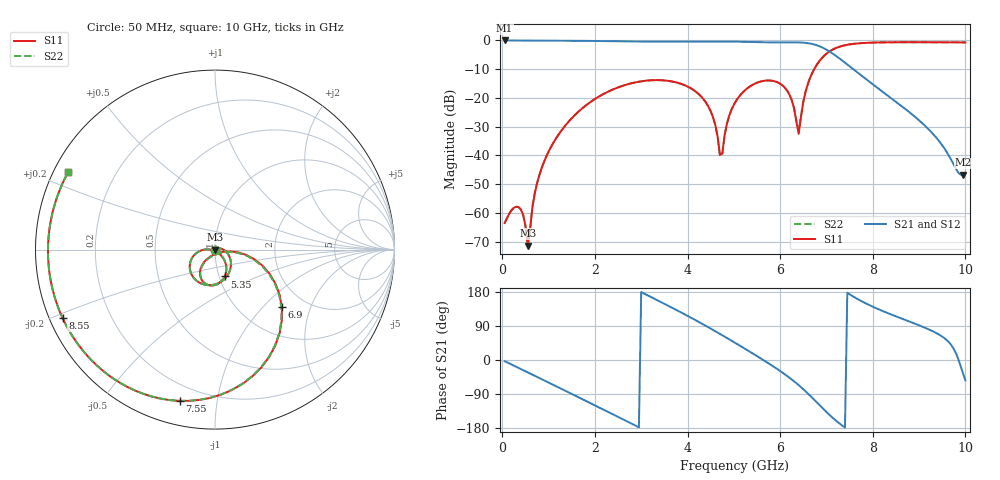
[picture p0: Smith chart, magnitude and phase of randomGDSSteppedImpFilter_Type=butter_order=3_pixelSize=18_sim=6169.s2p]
! freq	dB(S11)	phase(S11)	dB(S12)	phase(S12)
!  dB(S21)	phase(S21)	dB(S22)	phase(S22)
!S-par simulation data
#  GHz  S  DB  R 50
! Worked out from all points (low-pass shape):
!   200 points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, 50 MHz to 10 GHz, reference 50 ohm
!   highest |S21| = 0.00 dB at 50 MHz (marker M1); lowest = -46.7 dB at 9.95 GHz (marker M2)
!   |S21| within 3 dB of the highest: start of sweep to 6.976 GHz
!   lowest |S11| = -71.4 dB at 550 MHz (marker M3), VSWR 1.00, Z = 50 - j0.0171 ohm
!   |S11| at or under -10 dB: start of sweep to 6.735 GHz
!   |S22| runs from -71.6 to -0.6 dB; largest |S21 - S12| = 0
!   S11 on the Smith chart (normalised r, x): 50 MHz: 1.00, -0.00; 5.35 GHz: 1.06, -0.33; 6.9 GHz: 1.52, -1.29; 7.55 GHz: 0.12, -0.79; 8.55 GHz: 0.04, -0.21; 10 GHz: 0.04, +0.25
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0.05  -63.55 -26.2  -0.00 -3.0  -0.00 -3.0  -63.55 -26.3
0.4  -58.80 -96.7  -0.04 -23.8  -0.04 -23.8  -58.83 -97.0
0.55  -71.38 -39.4  -0.05 -32.7  -0.05 -32.7  -71.59 -38.3
0.7  -53.29 50.7  -0.05 -41.7  -0.05 -41.7  -53.28 51.2
0.9  -42.29 39.2  -0.07 -53.6  -0.07 -53.6  -42.28 39.4
1.75  -23.31 -13.9  -0.14 -104.6  -0.14 -104.6  -23.31 -13.9
2.6  -15.77 -66.0  -0.31 -156.3  -0.31 -156.3  -15.77 -66.0
3.4  -13.82 -114.7  -0.45 154.5  -0.45 154.5  -13.82 -114.7
4.35  -20.57 -172.6  -0.37 93.2  -0.37 93.2  -20.57 -172.7
4.6  -29.46 178.8  -0.36 75.9  -0.36 75.9  -29.48 178.2
4.7  -39.86 -147.4  -0.36 68.9  -0.36 68.9  -40.13 -148.6
5.05  -20.99 -50.7  -0.42 43.7  -0.42 43.7  -21.00 -50.3
5.35  -15.98 -70.1  -0.53 21.6  -0.53 21.6  -15.98 -69.8
6.1  -16.43 -123.8  -0.67 -37.7  -0.67 -37.7  -16.41 -122.9
6.4  -32.53 -63.7  -0.69 -66.3  -0.69 -66.3  -31.49 -64.3
6.7  -11.08 -18.7  -1.26 -100.6  -1.26 -100.6  -11.07 -19.4
6.9  -6.16 -40.8  -2.38 -125.3  -2.38 -125.3  -6.15 -41.3
7.55  -1.25 -103.1  -9.63 169.6  -9.63 169.6  -1.25 -103.3
8.35  -0.64 -147.4  -19.49 122.4  -19.49 122.4  -0.64 -147.5
8.55  -0.62 -155.8  -21.93 112.8  -21.93 112.8  -0.62 -155.9
9.95  -0.67 153.8  -46.72 -36.2  -46.72 -36.2  -0.67 153.7
10  -0.68 152.1  -46.11 -54.0  -46.11 -54.0  -0.68 152.0
